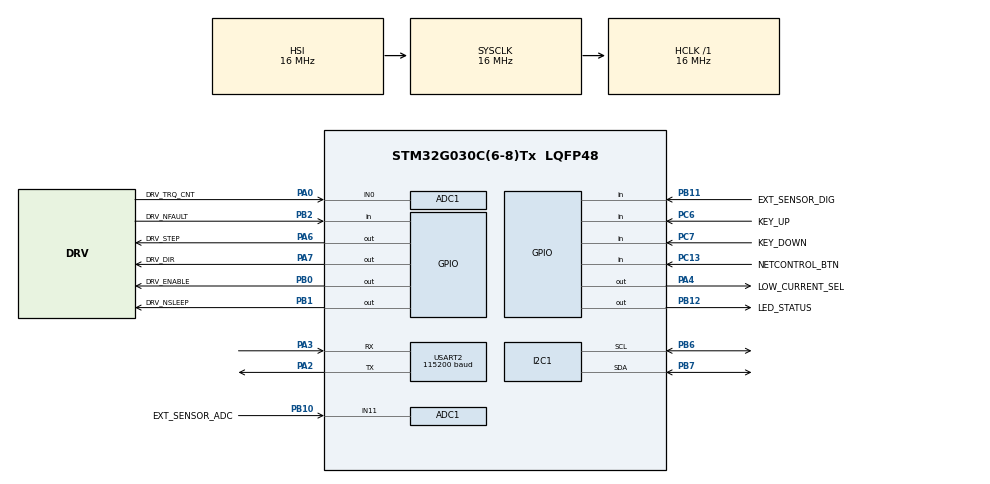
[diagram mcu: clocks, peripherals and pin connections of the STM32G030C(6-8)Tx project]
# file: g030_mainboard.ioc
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ADC1.Channel-0\#ChannelRegularConversion=ADC_CHANNEL_0
ADC1.ClockPrescaler=ADC_CLOCK_SYNC_PCLK_DIV4
ADC1.NbrOfConversionFlag=1
ADC1.Rank-0\#ChannelRegularConversion=1
ADC1.SamplingTime-0\#ChannelRegularConversion=ADC_SAMPLINGTIME_COMMON_1
ADC1.SamplingTimeCommon1=ADC_SAMPLETIME_160CYCLES_5
ADC1.ScanConvMode=ADC_SCAN_DISABLE
ADC1.SelectedChannel=ADC_CHANNEL_0|ADC_CHANNEL_11
ADC1.master=1
I2C1.Timing=0x00303D5B
Mcu.Family=STM32G0
Mcu.Name=STM32G030C(6-8)Tx
Mcu.Package=LQFP48
NVIC.TIM14_IRQn=true\:1\:0\:false\:false\:true\:true\:true\:true
NVIC.USART2_IRQn=true\:1\:0\:false\:false\:true\:true\:true\:true
PA0.GPIO_Label=DRV_TRQ_CNT
PA0.Mode=IN0
PA0.Signal=ADC1_IN0
PA13.Mode=Serial_Wire
PA13.Signal=SYS_SWDIO
PA14-BOOT0.Mode=Serial_Wire
PA14-BOOT0.Signal=SYS_SWCLK
PA2.Mode=Asynchronous
PA2.Signal=USART2_TX
PA3.Mode=Asynchronous
PA3.Signal=USART2_RX
PA4.GPIO_Label=LOW_CURRENT_SEL
PA4.PinState=GPIO_PIN_RESET
PA4.Signal=GPIO_Output
PA6.GPIO_Label=DRV_STEP
PA6.PinState=GPIO_PIN_RESET
PA6.Signal=GPIO_Output
PA7.GPIO_Label=DRV_DIR
PA7.PinState=GPIO_PIN_RESET
PA7.Signal=GPIO_Output
PB0.GPIO_Label=DRV_ENABLE
PB0.PinState=GPIO_PIN_RESET
PB0.Signal=GPIO_Output
PB1.GPIO_Label=DRV_NSLEEP
PB1.PinState=GPIO_PIN_RESET
PB1.Signal=GPIO_Output
PB10.GPIO_Label=EXT_SENSOR_ADC
PB10.Mode=IN11
PB10.Signal=ADC1_IN11
PB11.GPIO_Label=EXT_SENSOR_DIG
PB11.Signal=GPIO_Input
PB12.GPIO_Label=LED_STATUS
PB12.PinState=GPIO_PIN_SET
PB12.Signal=GPIO_Output
PB2.GPIO_Label=DRV_NFAULT
PB2.Signal=GPIO_Input
PB6.Mode=I2C
PB6.Signal=I2C1_SCL
PB7.Mode=I2C
PB7.Signal=I2C1_SDA
PC13.GPIO_Label=NETCONTROL_BTN
PC13.Signal=GPIO_Input
PC6.GPIO_Label=KEY_UP
PC6.Signal=GPIO_Input
PC7.GPIO_Label=KEY_DOWN
PC7.Signal=GPIO_Input
ProjectManager.HeapSize=0x100
ProjectManager.StackSize=0x400
ProjectManager.TargetToolchain=CMake
RCC.AHBFreq_Value=16000000
RCC.CortexFreq_Value=16000000
RCC.EXTERNAL_CLOCK_VALUE=12288000
RCC.HCLKFreq_Value=16000000
RCC.HSE_VALUE=8000000
RCC.HSI_VALUE=16000000
RCC.LSE_VALUE=32768
RCC.SYSCLKFreq_VALUE=16000000
RCC.VCOOutputFreq_Value=128000000
TIM14.Period=999
TIM14.Prescaler=15
USART2.BaudRate=115200
USART2.VirtualMode-Asynchronous=VM_ASYNC
VP_TIM14_VS_ClockSourceINT.Mode=Enable_Timer
board=custom

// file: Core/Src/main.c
/* USER CODE BEGIN Header */
/**
  ******************************************************************************
  * @file           : main.c
  * @brief          : Main program body
  ******************************************************************************
  * @attention
  *
  * Copyright (c) 2026 STMicroelectronics.
  * All rights reserved.
  *
  * This software is licensed under terms that can be found in the LICENSE file
  * in the root directory of this software component.
  * If no LICENSE file comes with this software, it is provided AS-IS.
  *
  ******************************************************************************
  */
/* USER CODE END Header */
#include "main.h"
#include "adc.h"
#include "i2c.h"
#include "tim.h"
#include "usart.h"
#include "gpio.h"

/* USER CODE BEGIN Includes */
#include "serial_bringup.h"
#include "motor.h"
#ifdef TUYA_PROTOCOL_APP
extern void TuyaApp_Run(void) __attribute__((noreturn));
#endif
#ifdef TUYA_PROGRAMMING_BRIDGE
#include "tuya_bridge.h"
#endif

/* USER CODE END Includes */

void SystemClock_Config(void);

int main(void)
{

  /* MCU Configuration--------------------------------------------------------*/

  /* Reset of all peripherals, Initializes the Flash interface and the Systick. */
  HAL_Init();

  /* Configure the system clock */
  SystemClock_Config();

  /* USER CODE BEGIN SysInit */
#ifdef TUYA_PROTOCOL_APP
  MX_GPIO_Init();
  TuyaApp_Run();
#endif
#ifdef TUYA_PROGRAMMING_BRIDGE
  MX_GPIO_Init();
  TuyaBridge_Run();
#endif
  /* USER CODE END SysInit */

  /* Initialize all configured peripherals */
  MX_GPIO_Init();
  MX_USART2_UART_Init();
  MX_I2C1_Init();
  MX_ADC1_Init();
  MX_TIM14_Init();
  /* USER CODE BEGIN 2 */
  SerialBringup_Init();

  /* USER CODE END 2 */

  /* Infinite loop */
  while (1)
  {

    /* USER CODE BEGIN 3 */
    SerialBringup_Poll();
  }
  /* USER CODE END 3 */
}

void SystemClock_Config(void)
{
  RCC_OscInitTypeDef RCC_OscInitStruct = {0};
  RCC_ClkInitTypeDef RCC_ClkInitStruct = {0};

  /** Configure the main internal regulator output voltage
  */
  HAL_PWREx_ControlVoltageScaling(PWR_REGULATOR_VOLTAGE_SCALE1);

  /** Initializes the RCC Oscillators according to the specified parameters
  * in the RCC_OscInitTypeDef structure.
  */
  RCC_OscInitStruct.OscillatorType = RCC_OSCILLATORTYPE_HSI;
  RCC_OscInitStruct.HSIState = RCC_HSI_ON;
  RCC_OscInitStruct.HSIDiv = RCC_HSI_DIV1;
  RCC_OscInitStruct.HSICalibrationValue = RCC_HSICALIBRATION_DEFAULT;
  RCC_OscInitStruct.PLL.PLLState = RCC_PLL_NONE;
  if (HAL_RCC_OscConfig(&RCC_OscInitStruct) != HAL_OK)
  {
    Error_Handler();
  }

  /** Initializes the CPU, AHB and APB buses clocks
  */
  RCC_ClkInitStruct.ClockType = RCC_CLOCKTYPE_HCLK|RCC_CLOCKTYPE_SYSCLK
                              |RCC_CLOCKTYPE_PCLK1;
  RCC_ClkInitStruct.SYSCLKSource = RCC_SYSCLKSOURCE_HSI;
  RCC_ClkInitStruct.AHBCLKDivider = RCC_SYSCLK_DIV1;
  RCC_ClkInitStruct.APB1CLKDivider = RCC_HCLK_DIV1;

  if (HAL_RCC_ClockConfig(&RCC_ClkInitStruct, FLASH_LATENCY_0) != HAL_OK)
  {
    Error_Handler();
  }
}

void Error_Handler(void)
{
  /* USER CODE BEGIN Error_Handler_Debug */
  Motor_Stop();
  /* User can add his own implementation to report the HAL error return state */
  __disable_irq();
  while (1)
  {
  }
  /* USER CODE END Error_Handler_Debug */
}
